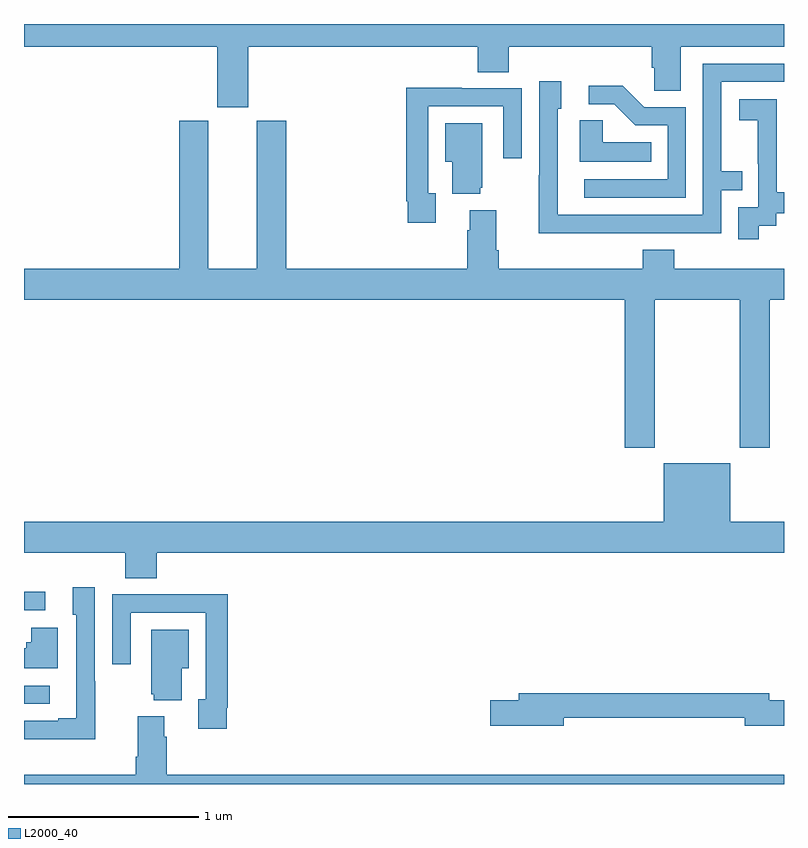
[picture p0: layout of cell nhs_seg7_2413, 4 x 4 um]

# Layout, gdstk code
import gdstk
lib = gdstk.Library(unit=1e-6, precision=1e-09)
def R(c, l, rs):  # rectangles x0, y0, x1, y1
    for r in rs: c.add(gdstk.rectangle(r[:2], r[2:], *l))
def P(c, l, *ps):  # polygons
    for p in ps: c.add(gdstk.Polygon(p, *l))
L2000_40 = (2000, 40)

nhs_seg7_2413 = lib.new_cell('nhs_seg7_2413')
R(nhs_seg7_2413, L2000_40, [(267,1066.422,267.136,1066.518), (267,1066.914,267.112,1067.012)])
P(nhs_seg7_2413, L2000_40, [(268.18,1069.88),(269.387,1069.88),(269.387,1069.747),(269.552,1069.747),(269.552,1069.88),(270.305,1069.88),(270.305,1069.771),(270.318,1069.771),(270.318,1069.648),(270.457,1069.648),(270.457,1069.88),(271,1069.88),(271,1070),(267,1070),(267,1069.88),(268.016,1069.88),(268.016,1069.563),(268.18,1069.563)],
  [(270.173,1068.9),(270.669,1068.9),(270.669,1069.125),(270.779,1069.125),(270.779,1069.226),(270.669,1069.226),(270.669,1069.695),(271,1069.695),(271,1069.791),(270.573,1069.791),(270.573,1068.996),(269.808,1068.996),(269.808,1069.554),(269.827,1069.554),(269.827,1069.699),(269.712,1069.699),(269.712,1069.205),(269.71,1069.205),(269.71,1068.899),(270.173,1068.899)],
  [(270.483,1069.563),(270.264,1069.563),(270.151,1069.676),(269.973,1069.676),(269.973,1069.578),(270.107,1069.578),(270.218,1069.467),(270.387,1069.467),(270.387,1069.182),(269.949,1069.182),(269.949,1069.086),(270.483,1069.086)],
  [(269.167,1069.11),(269.127,1069.11),(269.127,1069.566),(269.523,1069.566),(269.523,1069.293),(269.619,1069.293),(269.619,1069.662),(269.303,1069.662),(269.303,1069.664),(269.011,1069.664),(269.011,1069.066),(269.019,1069.066),(269.019,1068.954),(269.167,1068.954)],
  [(270.868,1068.937),(270.96,1068.937),(270.96,1069.005),(271,1069.005),(271,1069.114),(270.962,1069.114),(270.962,1069.397),(270.963,1069.397),(270.963,1069.603),(270.765,1069.603),(270.765,1069.493),(270.863,1069.493),(270.863,1069.265),(270.864,1069.265),(270.864,1069.035),(270.759,1069.035),(270.759,1068.867),(270.868,1068.867)],
  [(270.302,1069.378),(270.045,1069.378),(270.045,1069.493),(269.924,1069.493),(269.924,1069.274),(270.302,1069.274)],
  [(270.321,1068.548),(270.766,1068.548),(270.766,1067.769),(270.926,1067.769),(270.926,1068.548),(271,1068.548),(271,1068.712),(270.422,1068.712),(270.422,1068.811),(270.257,1068.811),(270.257,1068.712),(269.498,1068.712),(269.498,1068.808),(269.485,1068.808),(269.485,1069.021),(269.345,1069.021),(269.345,1068.914),(269.333,1068.914),(269.333,1068.712),(268.379,1068.712),(268.379,1069.491),(268.226,1069.491),(268.226,1068.712),(267.97,1068.712),(267.97,1069.491),(267.818,1069.491),(267.818,1068.712),(267,1068.712),(267,1068.548),(270.161,1068.548),(270.161,1067.769),(270.321,1067.769)],
  [(269.402,1069.137),(269.413,1069.137),(269.413,1069.477),(269.216,1069.477),(269.216,1069.274),(269.255,1069.274),(269.255,1069.106),(269.402,1069.106)],
  [(267.698,1067.216),(271,1067.216),(271,1067.38),(270.718,1067.38),(270.718,1067.689),(270.368,1067.689),(270.368,1067.38),(267,1067.38),(267,1067.216),(267.533,1067.216),(267.533,1067.083),(267.698,1067.083)],
  [(267.375,1066.541),(267.372,1066.541),(267.372,1067.035),(267.257,1067.035),(267.257,1066.89),(267.276,1066.89),(267.276,1066.345),(267.179,1066.345),(267.179,1066.332),(267,1066.332),(267,1066.235),(267.375,1066.235)],
  [(268.066,1066.402),(268.073,1066.402),(268.073,1067),(267.781,1067),(267.781,1066.998),(267.465,1066.998),(267.465,1066.629),(267.561,1066.629),(267.561,1066.902),(267.957,1066.902),(267.957,1066.446),(267.917,1066.446),(267.917,1066.29),(268.066,1066.29)],
  [(267.178,1066.822),(267.039,1066.822),(267.039,1066.746),(267.013,1066.746),(267.013,1066.714),(267,1066.714),(267,1066.61),(267.178,1066.61)],
  [(267.829,1066.61),(267.868,1066.61),(267.868,1066.813),(267.671,1066.813),(267.671,1066.473),(267.683,1066.473),(267.683,1066.442),(267.829,1066.442)],
  [(269.842,1066.35),(270.794,1066.35),(270.794,1066.307),(271,1066.307),(271,1066.442),(270.922,1066.442),(270.922,1066.478),(269.603,1066.478),(269.603,1066.442),(269.454,1066.442),(269.454,1066.307),(269.842,1066.307)],
  [(271,1066.048),(267.752,1066.048),(267.752,1066.25),(267.739,1066.25),(267.739,1066.357),(267.599,1066.357),(267.599,1066.144),(267.587,1066.144),(267.587,1066.048),(267,1066.048),(267,1066),(271,1066)])

lib.write_gds('nhs_seg7_2413.gds')
